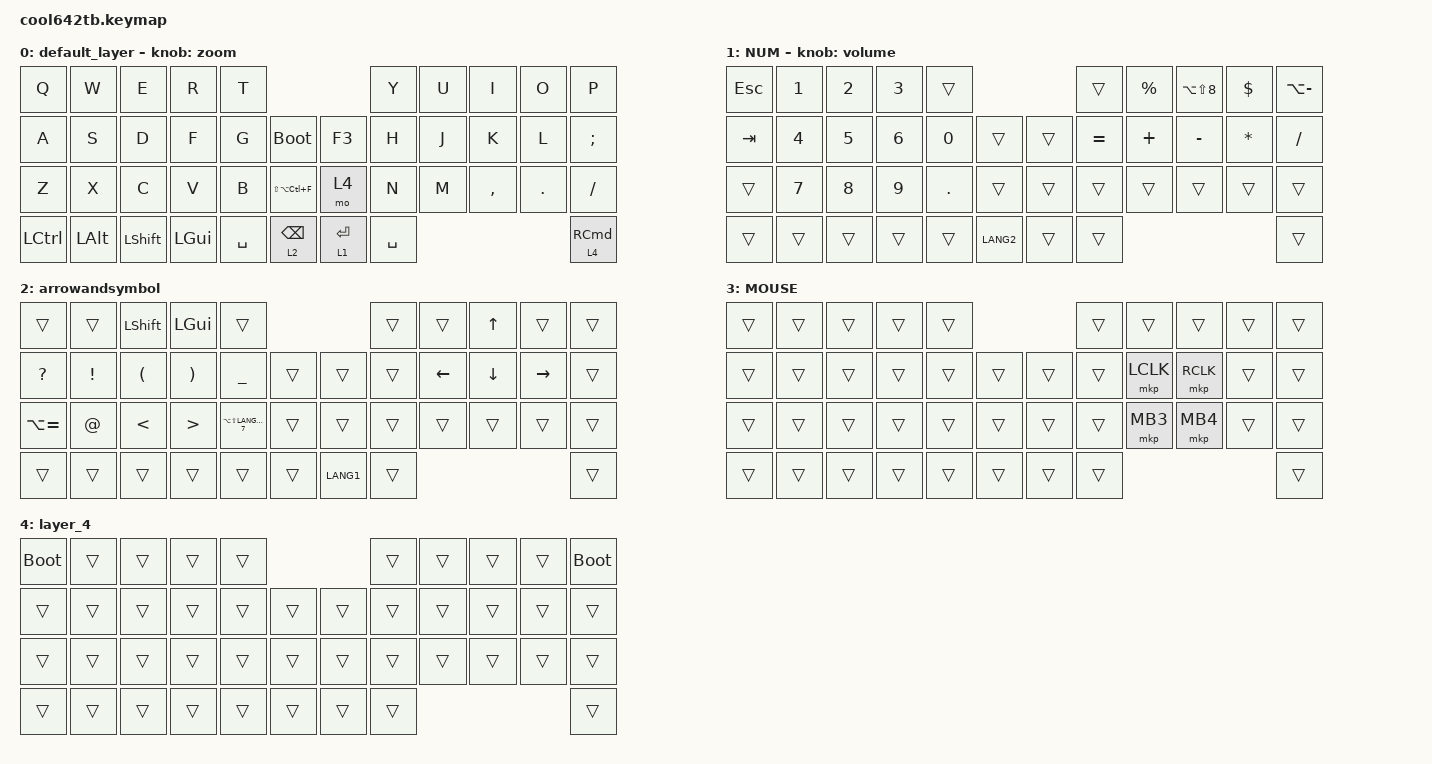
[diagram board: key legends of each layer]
#include <input/processors.dtsi>
#include <behaviors.dtsi>
#include <dt-bindings/zmk/keys.h>
#include <dt-bindings/zmk/pointing.h>

#define ZMK_MOUSE_DEFAULT_SCRL_VAL 100
#define MOUSE 3
#define SCROLL 4
#define NUM 1

&mkp_input_listener { input-processors = <&zip_temp_layer 3 1000>; };

&mt {
    flavor = "balanced";
    quick-tap-ms = <0>;
};

/ {
    combos { compatible = "zmk,combos"; };

    macros {
        to_layer_0: to_layer_0 {
            compatible = "zmk,behavior-macro-one-param";
            #binding-cells = <1>;
            bindings = <&to 0 &macro_param_1to1 &kp MACRO_PLACEHOLDER>;
            label = "TO_LAYER_0";
        };
    };

    behaviors {
        lt_to_layer_0: lt_to_layer_0 {
            compatible = "zmk,behavior-hold-tap";
            label = "LAYER_TAP_TO_0";
            bindings = <&mo>, <&to_layer_0>;

            #binding-cells = <2>;
            tapping-term-ms = <200>;
        };

        zoom: zoom {
            compatible = "zmk,behavior-sensor-rotate";
            label = "ZOOM";
            #sensor-binding-cells = <0>;
            bindings = <&kp LG(EQUAL)>, <&kp LG(MINUS)>;

            tap-ms = <3>;
        };

        volume: volume {
            compatible = "zmk,behavior-sensor-rotate";
            label = "VOLUME";
            #sensor-binding-cells = <0>;
            bindings = <&kp C_VOLUME_UP>, <&kp C_VOL_DN>;

            tap-ms = <10>;
        };
    };

    keymap {
        compatible = "zmk,keymap";

        default_layer {
            bindings = <
&kp Q      &kp W     &kp E      &kp R     &kp T                                    &kp Y      &kp U  &kp I      &kp O       &kp P
&kp A      &kp S     &kp D      &kp F     &kp G      &bootloader        &kp F3     &kp H      &kp J  &kp K      &kp L       &kp SEMI
&kp Z      &kp X     &kp C      &kp V     &kp B      &kp LS(LA(LC(F)))  &mo 4      &kp N      &kp M  &kp COMMA  &kp PERIOD  &kp SLASH
&kp LCTRL  &kp LALT  &kp LSHFT  &kp LGUI  &kp SPACE  &lt 2 BACKSPACE    &lt 1 RET  &kp SPACE                                &lt 4 RIGHT_COMMAND
            >;

            sensor-bindings = <&zoom>;
        };

        NUM {
            bindings = <
&kp ESC  &kp N1  &kp N2  &kp N3  &trans                      &trans     &kp PERCENT  &kp LA(LS(N8))  &kp DOLLAR  &kp LA(MINUS)
&kp TAB  &kp N4  &kp N5  &kp N6  &kp N0   &trans     &trans  &kp EQUAL  &kp PLUS     &kp MINUS       &kp ASTRK   &kp FSLH
&trans   &kp N7  &kp N8  &kp N9  &kp DOT  &trans     &trans  &trans     &trans       &trans          &trans      &trans
&trans   &trans  &trans  &trans  &trans   &kp LANG2  &trans  &trans                                              &trans
            >;

            sensor-bindings = <&volume>;
        };

        arrowandsymbol {
            bindings = <
&trans         &trans           &kp LSHFT             &kp LGUI               &trans                                     &trans  &trans    &kp UP    &trans     &trans
&kp QUESTION   &kp EXCLAMATION  &kp LEFT_PARENTHESIS  &kp RIGHT_PARENTHESIS  &kp UNDERSCORE          &trans  &trans     &trans  &kp LEFT  &kp DOWN  &kp RIGHT  &trans
&kp LA(EQUAL)  &kp AT           &kp LESS_THAN         &kp GREATER_THAN       &kp LA(LS(LANGUAGE_7))  &trans  &trans     &trans  &trans    &trans    &trans     &trans
&trans         &trans           &trans                &trans                 &trans                  &trans  &kp LANG1  &trans                                 &trans
            >;
        };

        MOUSE {
            bindings = <
&trans  &trans  &trans  &trans  &trans                  &trans  &trans     &trans     &trans  &trans
&trans  &trans  &trans  &trans  &trans  &trans  &trans  &trans  &mkp LCLK  &mkp RCLK  &trans  &trans
&trans  &trans  &trans  &trans  &trans  &trans  &trans  &trans  &mkp MB3   &mkp MB4   &trans  &trans
&trans  &trans  &trans  &trans  &trans  &trans  &trans  &trans                                &trans
            >;
        };

        layer_4 {
            bindings = <
&bootloader  &trans  &trans  &trans  &trans                  &trans  &trans  &trans  &trans  &bootloader
&trans       &trans  &trans  &trans  &trans  &trans  &trans  &trans  &trans  &trans  &trans  &trans
&trans       &trans  &trans  &trans  &trans  &trans  &trans  &trans  &trans  &trans  &trans  &trans
&trans       &trans  &trans  &trans  &trans  &trans  &trans  &trans                          &trans
            >;
        };
    };

    conditional_layers { compatible = "zmk,conditional-layers"; };
};
